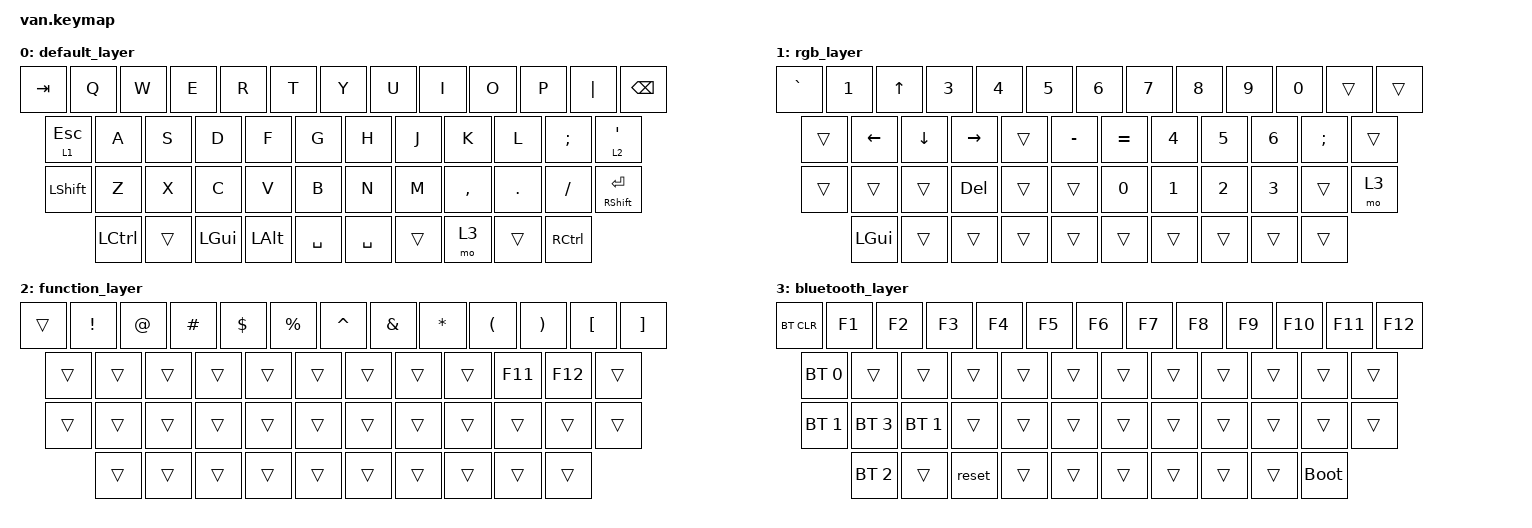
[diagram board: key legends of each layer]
/*
 * Copyright (c) 2021 Nick Winans
 *
 * SPDX-License-Identifier: MIT
 */

#include <behaviors.dtsi>
#include <dt-bindings/zmk/keys.h>
#include <dt-bindings/zmk/rgb.h>
#include <dt-bindings/zmk/bt.h>

/ {
	keymap {
		compatible = "zmk,keymap";

		default_layer {
// ------------------------------------------------------------------------------------------
// | ESC |  1  |  2  |  3  |  4  |  5  |  6  |  7  |  8  |  9  |  0  |  -  |  =  |   BKSP   |
// | TAB  |  Q  |  W  |  E  |  R  |  T  |  Y  |  U  |  I  |  O  |  P  |  [  |  ]  |   "|"   |
// | CAPS  |  A  |  S  |  D  |  F  |  G  |  H  |  J  |  K  |  L  |  ;  |  '  |     ENTER    |
// |  SHIFT  |  Z  |  X  |  C  |  V  |  B  |  N  |  M  |  ,  |  .  |  /  |      SHIFT       |
// |  CTL  |  WIN  |  ALT  |            SPACE              |  ALT  |  WIN  |  MO(1) |  CTL  |
// ------------------------------------------------------------------------------------------
			bindings = <
	&kp TAB  &kp Q  &kp W  &kp E  &kp R  &kp T  &kp Y  &kp U  &kp I  &kp O  &kp P  &kp PIPE &kp BSPC
	&lt 1 ESC  &kp A  &kp S  &kp D  &kp F  &kp G  &kp H  &kp J  &kp K  &kp L  &kp SEMI &lt 2 SQT           
	&kp LSHFT   &kp Z  &kp X  &kp C  &kp V  &kp B  &kp N  &kp M  &kp COMMA &kp DOT &kp SLASH           &mt RSHIFT ENTER
	&kp LCTRL &trans &kp LGUI &kp LALT &kp SPACE &kp SPACE     &trans     &mo 3   &trans  &kp RCTRL   
			>;
		};

		rgb_layer {
// ------------------------------------------------------------------------------------------------
// | BT CLR | F1  | F2  | F3  | F4  | F5  | F6  | F7  | F8  | F9  | F10  | F11 | F12 | EFFECT REV |
// |  BT 1   |   |  UP |   | HUEUP | SATUP | BRIUP | SPDUP |   |     |    |     |     |           |
// |   BT 2   | LT |  DN  | RT | HUEDN | SATDN | BRIDN | SPDDN |   |     |   |     |  EFFECT FORW |
// |    BT 3     |     |      |      |     |     |     |     |     |     |     |                  |
// |   BT 4  |      |      |             TOG RGB                | PRT SCR |       |       |  DEL  |
// ------------------------------------------------------------------------------------------------
			bindings = <
	&kp GRAVE  &kp N1  &kp UP  &kp N3  &kp N4  &kp N5  &kp N6  &kp N7  &kp N8  &kp N9  &kp N0  &trans &trans
	&trans  &kp LEFT  &kp DOWN  &kp RIGHT  &trans  &kp MINUS  &kp EQUAL  &kp N4  &kp N5  &kp N6  &kp SEMI &trans          
	&trans   &trans &trans  &kp DEL  &trans  &trans  &kp N0 &kp N1  &kp N2 &kp N3 &trans          &mo 3
	&kp LGUI &trans &trans  &trans &trans &trans          &trans                     &trans  &trans  &trans 
			>;
		};

		function_layer {
// ------------------------------------------------------------------------------------------------
// | BT CLR | F1  | F2  | F3  | F4  | F5  | F6  | F7  | F8  | F9  | F10  | F11 | F12 | EFFECT REV |
// |  BT 1   |   |  UP |   | HUEUP | SATUP | BRIUP | SPDUP |   |     |    |     |     |           |
// |   BT 2   | LT |  DN  | RT | HUEDN | SATDN | BRIDN | SPDDN |   |     |   |     |  EFFECT FORW |
// |    BT 3     |     |      |      |     |     |     |     |     |     |     |                  |
// |   BT 4  |      |      |             TOG RGB                | PRT SCR |       |       |  DEL  |
// ------------------------------------------------------------------------------------------------
			bindings = <
	&trans  &kp EXCL  &kp AT  &kp HASH  &kp DOLLAR  &kp PERCENT  &kp CARET  &kp AMPS  &kp ASTERISK  &kp LPAR  &kp RPAR  &kp LBKT &kp RBKT
	&trans  &trans  &trans  &trans  &trans  &trans  &trans  &trans  &trans  &kp F11  &kp F12 &trans          
	&trans   &trans &trans  &trans  &trans  &trans  &trans &trans  &trans &trans &trans          &trans
	&trans &trans &trans    &trans &trans &trans         &trans                     &trans  &trans  &trans 
			>;
		};
		
		bluetooth_layer {
// ------------------------------------------------------------------------------------------------
// | BT CLR | F1  | F2  | F3  | F4  | F5  | F6  | F7  | F8  | F9  | F10  | F11 | F12 | EFFECT REV |
// |  BT 1   |   |  UP |   | HUEUP | SATUP | BRIUP | SPDUP |   |     |    |     |     |           |
// |   BT 2   | LT |  DN  | RT | HUEDN | SATDN | BRIDN | SPDDN |   |     |   |     |  EFFECT FORW |
// |    BT 3     |     |      |      |     |     |     |     |     |     |     |                  |
// |   BT 4  |      |      |             TOG RGB                | PRT SCR |       |       |  DEL  |
// ------------------------------------------------------------------------------------------------
			bindings = <
	&bt BT_CLR &kp F1 &kp F2  &kp F3  &kp F4 &kp F5 &kp F6  &kp F7 &kp F8  &kp F9  &kp F10  &kp F11 &kp F12
	&bt BT_SEL 0  &trans  &trans  &trans  &trans  &trans  &trans  &trans  &trans  &trans  &trans &trans          
	&bt BT_SEL 1  &bt BT_SEL 3 &bt BT_SEL 1  &trans  &trans  &trans  &trans &trans  &trans &trans &trans          &trans
	&bt BT_SEL 2 &trans &reset    &trans &trans &trans         &trans                     &trans  &trans  &bootloader 
			>;
		};
	};
};
